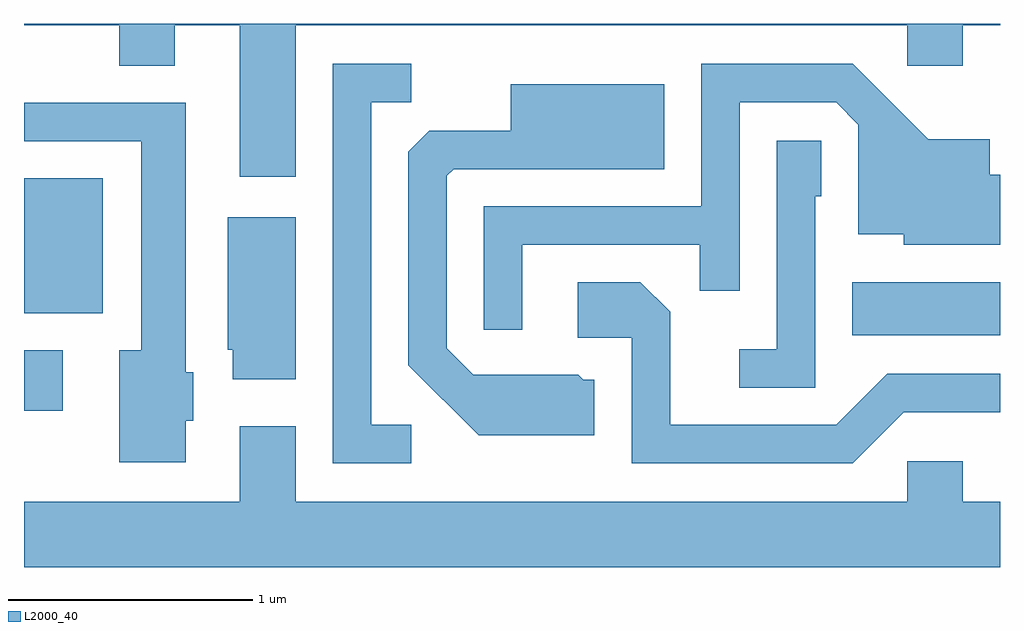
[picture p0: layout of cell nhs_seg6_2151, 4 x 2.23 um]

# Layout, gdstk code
import gdstk
lib = gdstk.Library(unit=1e-6, precision=1e-09)
def R(c, l, rs):  # rectangles x0, y0, x1, y1
    for r in rs: c.add(gdstk.rectangle(r[:2], r[2:], *l))
def P(c, l, *ps):  # polygons
    for p in ps: c.add(gdstk.Polygon(p, *l))
L2000_40 = (2000, 40)

nhs_seg6_2151 = lib.new_cell('nhs_seg6_2151')
R(nhs_seg6_2151, L2000_40, [(249.611,1650.576,249.769,1650.824), (253.006,1650.886,253.611,1651.104), (249.611,1650.976,249.934,1651.529)])
P(nhs_seg6_2151, L2000_40, [(250.724,1652.156),(253.231,1652.156),(253.231,1651.991),(253.459,1651.991),(253.459,1652.156),(253.611,1652.156),(253.611,1652.162),(249.611,1652.162),(249.611,1652.156),(250.001,1652.156),(250.001,1651.991),(250.229,1651.991),(250.229,1652.156),(250.496,1652.156),(250.496,1651.536),(250.724,1651.536)],
  [(251.654,1651.256),(252.381,1651.256),(252.381,1651.068),(252.544,1651.068),(252.544,1651.841),(252.939,1651.841),(253.031,1651.749),(253.031,1651.301),(253.216,1651.301),(253.216,1651.256),(253.611,1651.256),(253.611,1651.544),(253.569,1651.544),(253.569,1651.689),(253.317,1651.689),(253.007,1651.999),(252.386,1651.999),(252.386,1651.414),(251.496,1651.414),(251.496,1650.908),(251.654,1650.908)],
  [(251.198,1650.519),(251.034,1650.519),(251.034,1651.841),(251.198,1651.841),(251.198,1651.999),(250.876,1651.999),(250.876,1650.361),(251.198,1650.361)],
  [(251.949,1650.704),(251.902,1650.704),(251.882,1650.724),(251.452,1650.724),(251.344,1650.832),(251.344,1651.539),(251.372,1651.566),(252.234,1651.566),(252.234,1651.914),(251.606,1651.914),(251.606,1651.724),(251.272,1651.724),(251.186,1651.639),(251.186,1650.764),(251.474,1650.476),(251.949,1650.476)],
  [(250.274,1650.536),(250.304,1650.536),(250.304,1650.734),(250.274,1650.734),(250.274,1651.839),(249.611,1651.839),(249.611,1651.681),(250.091,1651.681),(250.091,1650.824),(250.001,1650.824),(250.001,1650.366),(250.274,1650.366)],
  [(252.854,1651.456),(252.879,1651.456),(252.879,1651.684),(252.696,1651.684),(252.696,1650.829),(252.543,1650.829),(252.543,1650.671),(252.854,1650.671)],
  [(250.724,1651.369),(250.446,1651.369),(250.446,1650.826),(250.466,1650.826),(250.466,1650.706),(250.724,1650.706)],
  [(253.217,1650.571),(253.611,1650.571),(253.611,1650.729),(253.149,1650.729),(252.939,1650.519),(252.259,1650.519),(252.259,1650.982),(252.137,1651.104),(251.881,1651.104),(251.881,1650.876),(252.101,1650.876),(252.101,1650.361),(253.007,1650.361)],
  [(253.611,1650.204),(253.459,1650.204),(253.459,1650.369),(253.231,1650.369),(253.231,1650.204),(250.724,1650.204),(250.724,1650.514),(250.496,1650.514),(250.496,1650.204),(249.611,1650.204),(249.611,1649.936),(253.611,1649.936)])

lib.write_gds('nhs_seg6_2151.gds')
